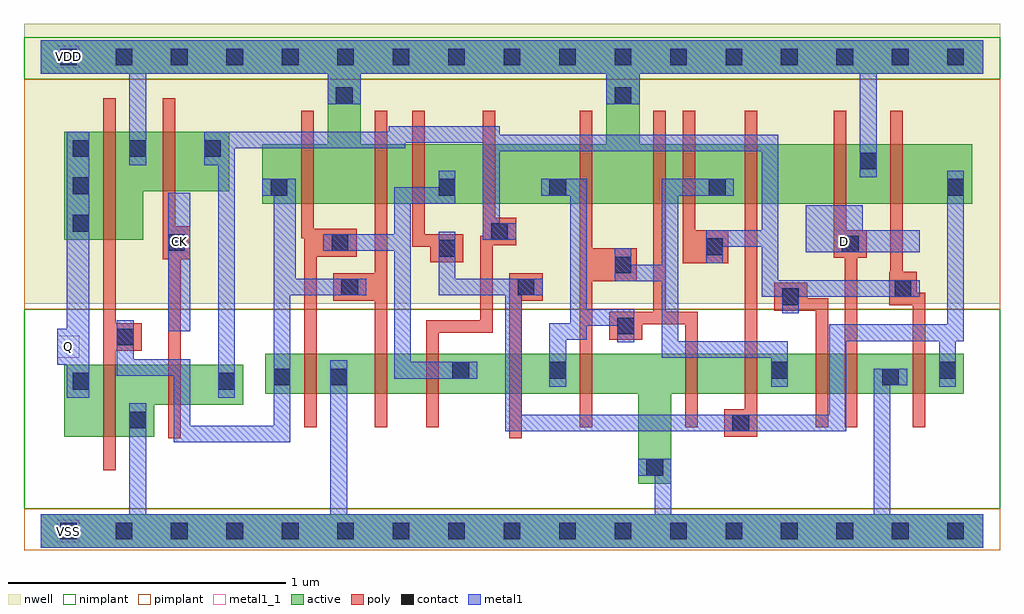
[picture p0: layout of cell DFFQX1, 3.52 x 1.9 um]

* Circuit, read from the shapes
.subckt DFFQX1 CK D Q VDD VSS
M1 VSS n1 Q VSS nfet w=0.26u l=0.045u
M2 n2 CK VSS VSS nfet w=0.145u l=0.045u
M3 VSS n3 n1 VSS nfet w=0.145u l=0.045u
M4 n4 n1 VSS VSS nfet w=0.145u l=0.045u
M5 n3 n2 n4 VSS nfet w=0.145u l=0.045u
M6 n5 n6 n3 VSS nfet w=0.145u l=0.045u
M7 VSS n7 n5 VSS nfet w=0.145u l=0.045u
M8 n8 n5 VSS VSS nfet w=0.145u l=0.045u
M9 n7 n6 n8 VSS nfet w=0.145u l=0.045u
M10 n9 n2 n7 VSS nfet w=0.145u l=0.045u
M11 VSS D n9 VSS nfet w=0.145u l=0.045u
M12 n6 n2 VSS VSS nfet w=0.145u l=0.045u
M13 VDD n1 Q VDD pfet w=0.39u l=0.045u
M14 n2 CK VDD VDD pfet w=0.215u l=0.045u
M15 VDD n3 n1 VDD pfet w=0.215u l=0.045u
M16 n10 n1 VDD VDD pfet w=0.215u l=0.045u
M17 n3 n6 n10 VDD pfet w=0.215u l=0.045u
M18 n5 n2 n3 VDD pfet w=0.215u l=0.045u
M19 VDD n7 n5 VDD pfet w=0.215u l=0.045u
M20 n11 n5 VDD VDD pfet w=0.215u l=0.045u
M21 n7 n2 n11 VDD pfet w=0.215u l=0.045u
M22 n12 n6 n7 VDD pfet w=0.215u l=0.045u
M23 VDD D n12 VDD pfet w=0.215u l=0.045u
M24 n6 n2 VDD VDD pfet w=0.215u l=0.045u
.ends

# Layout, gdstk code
import gdstk
lib = gdstk.Library(unit=1e-6, precision=5e-10)
def R(c, l, rs):  # rectangles x0, y0, x1, y1
    for r in rs: c.add(gdstk.rectangle(r[:2], r[2:], *l))
def A(c, l, x, y, w, h, nx, ny, dx, dy):  # array of equal rectangles
    R(c, l, [(x+i*dx, y+j*dy, x+i*dx+w, y+j*dy+h) for i in range(nx) for j in range(ny)])
def P(c, l, *ps):  # polygons
    for p in ps: c.add(gdstk.Polygon(p, *l))
active = (1, 0)
nwell = (2, 0)
poly = (3, 0)
nimplant = (4, 0)
pimplant = (5, 0)
contact = (6, 0)
metal1 = (7, 0)
metal1_1 = (7, 1)

dffqx1 = lib.new_cell('DFFQX1')
R(dffqx1, active, [(0,-0.06,3.4,0.06)])
P(dffqx1, active, [(0,1.77),(3.4,1.77),(3.4,1.65),(2.16,1.65),(2.16,1.395),(3.36,1.395),(3.36,1.18),(0.8,1.18),(0.8,1.395),(1.035,1.395),(1.035,1.65),(1.155,1.65),(1.155,1.395),(2.04,1.395),(2.04,1.65),(0,1.65)],
  [(0.085,1.44),(0.68,1.44),(0.68,1.225),(0.37,1.225),(0.37,1.05),(0.085,1.05)],
  [(0.085,0.6),(0.73,0.6),(0.73,0.455),(0.41,0.455),(0.41,0.34),(0.085,0.34)],
  [(0.81,0.64),(3.33,0.64),(3.33,0.495),(2.275,0.495),(2.275,0.17),(2.155,0.17),(2.155,0.495),(0.81,0.495)])
R(dffqx1, nwell, [(-0.06,0.82,3.46,1.83)])
P(dffqx1, poly, [(0.225,1.56),(0.27,1.56),(0.27,0.75),(0.365,0.75),(0.365,0.65),(0.27,0.65),(0.27,0.22),(0.225,0.22)],
  [(0.44,1.56),(0.485,1.56),(0.485,1.1),(0.54,1.1),(0.54,0.98),(0.505,0.98),(0.505,0.335),(0.46,0.335),(0.46,0.98),(0.44,0.98)],
  [(0.94,1.515),(0.985,1.515),(0.985,1.09),(1.14,1.09),(1.14,0.99),(0.995,0.99),(0.995,0.375),(0.95,0.375),(0.95,1.055),(0.94,1.055)],
  [(1.205,1.515),(1.25,1.515),(1.25,0.375),(1.205,0.375),(1.205,0.83),(1.055,0.83),(1.055,0.93),(1.205,0.93)],
  [(1.34,1.515),(1.385,1.515),(1.385,1.07),(1.525,1.07),(1.525,0.97),(1.405,0.97),(1.405,1.025),(1.34,1.025)],
  [(1.595,1.515),(1.64,1.515),(1.64,1.13),(1.715,1.13),(1.715,1.03),(1.63,1.03),(1.63,0.715),(1.435,0.715),(1.435,0.375),(1.39,0.375),(1.39,0.76),(1.585,0.76),(1.585,1.065),(1.595,1.065)],
  [(1.945,1.515),(1.99,1.515),(1.99,1.02),(2.15,1.02),(2.15,0.9),(1.99,0.9),(1.99,0.375),(1.945,0.375)],
  [(2.21,1.515),(2.255,1.515),(2.255,0.79),(2.37,0.79),(2.37,0.375),(2.325,0.375),(2.325,0.745),(2.17,0.745),(2.17,0.69),(2.05,0.69),(2.05,0.79),(2.21,0.79)],
  [(2.315,1.515),(2.36,1.515),(2.36,1.085),(2.48,1.085),(2.48,0.965),(2.315,0.965)],
  [(2.54,1.515),(2.585,1.515),(2.585,0.34),(2.465,0.34),(2.465,0.44),(2.54,0.44)],
  [(2.86,1.515),(2.905,1.515),(2.905,1.085),(2.98,1.085),(2.98,0.985),(2.945,0.985),(2.945,0.375),(2.9,0.375),(2.9,0.985),(2.86,0.985)],
  [(3.065,1.515),(3.11,1.515),(3.11,0.935),(3.16,0.935),(3.16,0.86),(3.19,0.86),(3.19,0.375),(3.145,0.375),(3.145,0.815),(3.06,0.815),(3.06,0.935),(3.065,0.935)],
  [(1.69,0.93),(1.81,0.93),(1.81,0.83),(1.735,0.83),(1.735,0.335),(1.69,0.335)],
  [(2.645,0.895),(2.765,0.895),(2.765,0.84),(2.84,0.84),(2.84,0.375),(2.795,0.375),(2.795,0.795),(2.645,0.795)])
R(dffqx1, nimplant, [(-0.06,0.08,3.46,0.8), (-0.06,1.63,3.46,1.78)])
R(dffqx1, pimplant, [(-0.06,-0.07,3.46,0.08), (-0.06,0.8,3.46,1.63)])
A(dffqx1, contact, 0.07, -0.03, 0.06, 0.06, 17, 2, 0.2, 1.71)
A(dffqx1, contact, 0.115, 1.08, 0.06, 0.06, 1, 3, 0, 0.135)
R(dffqx1, contact, [(2.185,0.2,2.245,0.26), (2.495,0.36,2.555,0.42), (0.32,0.37,0.38,0.43), (0.115,0.51,0.175,0.57), (0.64,0.51,0.7,0.57), (0.84,0.525,0.9,0.585), (1.045,0.525,1.105,0.585), (3.035,0.525,3.095,0.585), (1.485,0.55,1.545,0.61), (1.835,0.55,1.895,0.61), (2.635,0.55,2.695,0.61), (3.24,0.55,3.3,0.61), (0.275,0.67,0.335,0.73), (2.08,0.71,2.14,0.77), (2.675,0.815,2.735,0.875), (3.08,0.845,3.14,0.905), (1.085,0.85,1.145,0.91), (1.72,0.85,1.78,0.91), (2.07,0.93,2.13,0.99), (1.435,0.99,1.495,1.05), (2.4,0.995,2.46,1.055), (2.89,1.005,2.95,1.065), (0.46,1.01,0.52,1.07), (1.05,1.01,1.11,1.07), (1.625,1.05,1.685,1.11), (0.83,1.21,0.89,1.27), (1.435,1.21,1.495,1.27), (1.835,1.21,1.895,1.27), (2.41,1.21,2.47,1.27), (3.27,1.21,3.33,1.27), (2.955,1.305,3.015,1.365), (0.32,1.35,0.38,1.41), (0.59,1.35,0.65,1.41), (1.065,1.54,1.125,1.6), (2.07,1.54,2.13,1.6)])
R(dffqx1, metal1, [(0.46,0.72,0.54,1.22)])
P(dffqx1, metal1, [(0,1.77),(3.4,1.77),(3.4,1.65),(3.015,1.65),(3.015,1.275),(2.955,1.275),(2.955,1.65),(2.16,1.65),(2.16,1.54),(2.04,1.54),(2.04,1.65),(1.155,1.65),(1.155,1.54),(1.035,1.54),(1.035,1.65),(0.38,1.65),(0.38,1.32),(0.32,1.32),(0.32,1.65),(0,1.65)],
  [(0.095,1.44),(0.175,1.44),(0.175,0.48),(0.095,0.48),(0.095,0.6),(0.06,0.6),(0.06,0.73),(0.095,0.73)],
  [(1.255,1.46),(1.655,1.46),(1.655,1.43),(2.66,1.43),(2.66,0.905),(3.17,0.905),(3.17,0.845),(2.735,0.845),(2.735,0.785),(2.675,0.785),(2.675,0.845),(2.6,0.845),(2.6,1.025),(2.46,1.025),(2.46,0.965),(2.4,0.965),(2.4,1.085),(2.6,1.085),(2.6,1.37),(1.655,1.37),(1.655,1.11),(1.715,1.11),(1.715,1.05),(1.595,1.05),(1.595,1.4),(1.315,1.4),(1.315,1.38),(0.7,1.38),(0.7,0.48),(0.64,0.48),(0.64,1.32),(0.59,1.32),(0.59,1.44),(1.255,1.44)],
  [(1.435,1.3),(1.495,1.3),(1.495,1.18),(1.335,1.18),(1.335,0.61),(1.575,0.61),(1.575,0.55),(1.275,0.55),(1.275,1.01),(1.02,1.01),(1.02,1.07),(1.275,1.07),(1.275,1.24),(1.435,1.24)],
  [(0.8,1.27),(0.92,1.27),(0.92,0.91),(1.175,0.91),(1.175,0.85),(0.9,0.85),(0.9,0.32),(0.48,0.32),(0.48,0.56),(0.275,0.56),(0.275,0.76),(0.335,0.76),(0.335,0.62),(0.54,0.62),(0.54,0.38),(0.84,0.38),(0.84,1.21),(0.8,1.21)],
  [(0.32,0.46),(0.38,0.46),(0.38,0.06),(1.045,0.06),(1.045,0.615),(1.105,0.615),(1.105,0.06),(2.215,0.06),(2.215,0.2),(2.155,0.2),(2.155,0.26),(2.275,0.26),(2.275,0.06),(3.005,0.06),(3.005,0.585),(3.125,0.585),(3.125,0.525),(3.065,0.525),(3.065,0.06),(3.4,0.06),(3.4,-0.06),(0,-0.06),(0,0.06),(0.32,0.06)],
  [(1.435,1.08),(1.495,1.08),(1.495,0.91),(1.81,0.91),(1.81,0.85),(1.735,0.85),(1.735,0.42),(2.845,0.42),(2.845,0.745),(3.27,0.745),(3.27,1.3),(3.33,1.3),(3.33,0.685),(3.3,0.685),(3.3,0.52),(3.24,0.52),(3.24,0.685),(2.905,0.685),(2.905,0.36),(1.675,0.36),(1.675,0.85),(1.435,0.85)],
  [(1.805,1.27),(1.97,1.27),(1.97,0.8),(2.14,0.8),(2.14,0.68),(2.08,0.68),(2.08,0.74),(1.97,0.74),(1.97,0.69),(1.895,0.69),(1.895,0.52),(1.835,0.52),(1.835,0.75),(1.91,0.75),(1.91,1.21),(1.805,1.21)],
  [(2.24,1.27),(2.5,1.27),(2.5,1.21),(2.3,1.21),(2.3,0.685),(2.695,0.685),(2.695,0.52),(2.635,0.52),(2.635,0.625),(2.24,0.625),(2.24,0.9),(2.07,0.9),(2.07,1.02),(2.13,1.02),(2.13,0.96),(2.24,0.96)],
  [(2.76,1.175),(2.965,1.175),(2.965,1.085),(3.17,1.085),(3.17,1.005),(2.76,1.005)])
R(dffqx1, metal1_1, [(0.06,-0.04,0.14,0.04), (0.06,0.625,0.14,0.705), (0.46,1.005,0.54,1.085), (2.86,1.005,2.94,1.085), (0.06,1.67,0.14,1.75)])
dffqx1.add(gdstk.Label('Q', (0.1,0.665), layer=7, texttype=1))
dffqx1.add(gdstk.Label('D', (2.9,1.045), layer=7, texttype=1))
dffqx1.add(gdstk.Label('CK', (0.5,1.045), layer=7, texttype=1))
dffqx1.add(gdstk.Label('VDD', (0.1,1.71), layer=7, texttype=1))
dffqx1.add(gdstk.Label('VSS', (0.1,0), layer=7, texttype=1))
dffqx1.add(gdstk.Label('DFFQX1', (0,0), layer=63, texttype=0))

lib.write_gds('DFFQX1.gds')
